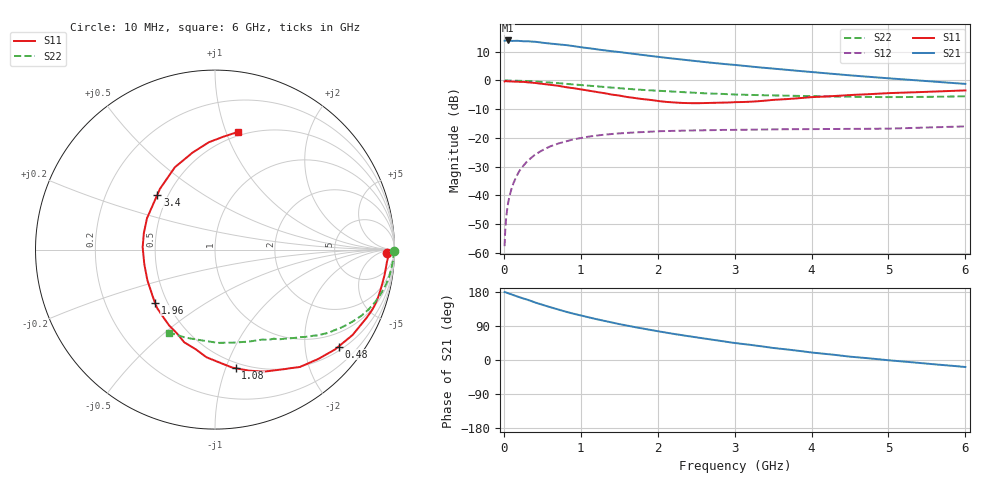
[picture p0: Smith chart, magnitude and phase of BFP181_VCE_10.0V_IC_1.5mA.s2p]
! Infineon Technologies  Discrete & RF Semiconductors
! BFP181
! VCE = 10.0V,  IC =  1.5 mA
! Common Emitter S-Parameters:  Jan 2016
# GHz  S  MA  R  50
!  f  S11  S21  S12  S22
! GHz  MAG  ANG  MAG  ANG  MAG  ANG  MAG  ANG
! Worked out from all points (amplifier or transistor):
!   210 points, 10 MHz to 6 GHz, reference 50 ohm
!   highest |S21| = 13.9 dB at 50 MHz (marker M1)
!   |S21| within 3 dB of that: start of sweep to 1.186 GHz
!   unconditionally stable (mu >= 1): 2.866 GHz to end of sweep
!   at 185 MHz: K = 0.08, MSG = 23.0 dB, |S12| = -32.3 dB
!   at 1.52 GHz: K = 0.59, MSG = 14.1 dB, |S12| = -18.4 dB
!   at 6 GHz: K = 1.20, MAG = 4.7 dB, |S12| = -16.0 dB
!   S11 on the Smith chart (normalised r, x): 10 MHz: 40, -17; 480 MHz: 0.60, -2.78; 1.08 GHz: 0.45, -1.08; 1.96 GHz: 0.43, -0.32; 3.4 GHz: 0.44, +0.33; 6 GHz: 0.47, +1.10
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0.01  0.9586 -1.0  4.905 179.1  0.0013 79.6  0.9958 -0.3
0.02  0.9682 -1.7  4.943 178.9  0.0027 86.9  0.9953 -0.8
0.05  0.9609 -3.9  4.947 176.4  0.0066 87.6  0.9945 -2.0
0.11  0.9547 -8.9  4.858 172.4  0.0143 83.7  0.9921 -4.2
0.2  0.9469 -16.2  4.868 165.9  0.0262 79.7  0.985 -7.7
0.4  0.9022 -31.8  4.723 152.2  0.0501 69.9  0.9569 -14.9
0.48  0.8752 -38.1  4.555 146.9  0.0585 65.9  0.9413 -17.6
0.6  0.8382 -46.6  4.405 139.6  0.0707 60.6  0.9177 -21.4
0.8  0.7637 -61.0  4.13 127.8  0.0862 52.6  0.8712 -27.0
1.02  0.6917 -75.9  3.74 116.6  0.1002 45.0  0.8213 -32.2
1.08  0.6709 -80.1  3.668 113.5  0.1036 43.0  0.8082 -33.5
1.5  0.544 -108.4  3.12 94.8  0.1195 32.7  0.7292 -41.1
1.7  0.4937 -121.2  2.883 86.9  0.1239 28.9  0.6968 -44.3
1.96  0.4459 -138.6  2.607 77.5  0.1294 24.7  0.6639 -47.8
2.02  0.4352 -142.6  2.548 75.3  0.1303 23.9  0.6572 -48.6
2.2  0.4138 -155.5  2.394 69.0  0.1321 21.5  0.6351 -51.3
2.58  0.4022 179.4  2.106 57.5  0.135 17.4  0.5968 -56.3
3.1  0.4194 150.3  1.8 42.6  0.138 12.9  0.5621 -63.6
3.4  0.4436 136.3  1.646 34.7  0.1398 11.0  0.5498 -68.1
4.1  0.517 113.2  1.36 17.8  0.142 7.4  0.526 -80.2
5.1  0.6047 91.7  1.061 -2.4  0.1456 5.6  0.511 -100.2
6  0.6683 78.9  0.869 -18.5  0.1581 4.4  0.5286 -119.0
